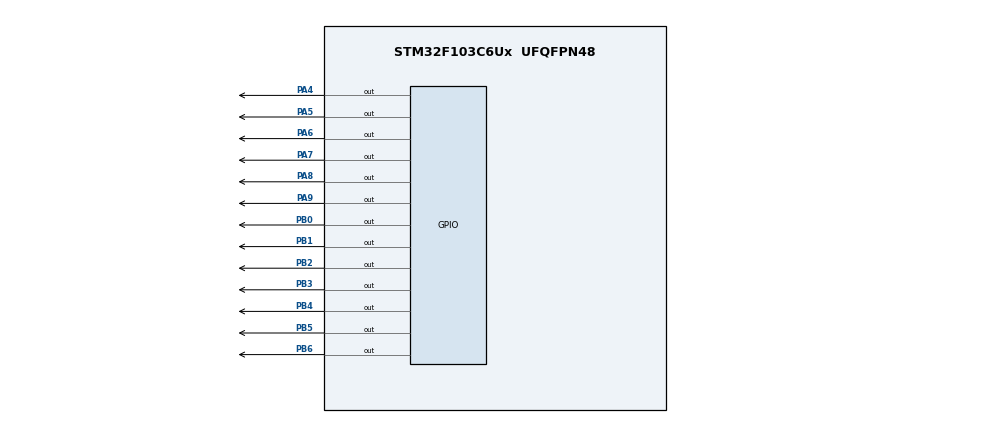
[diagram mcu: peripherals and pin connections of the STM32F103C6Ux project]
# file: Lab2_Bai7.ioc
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Mcu.Family=STM32F1
Mcu.Name=STM32F103C6Ux
Mcu.Package=UFQFPN48
NVIC.PriorityGroup=NVIC_PRIORITYGROUP_4
NVIC.TIM2_IRQn=true\:0\:0\:false\:false\:true\:true\:true
PA4.Signal=GPIO_Output
PA5.Signal=GPIO_Output
PA6.Signal=GPIO_Output
PA7.Signal=GPIO_Output
PA8.Signal=GPIO_Output
PA9.Signal=GPIO_Output
PB0.Signal=GPIO_Output
PB1.Signal=GPIO_Output
PB2.Signal=GPIO_Output
PB3.Signal=GPIO_Output
PB4.Signal=GPIO_Output
PB5.Signal=GPIO_Output
PB6.Signal=GPIO_Output
ProjectManager.HeapSize=0x200
ProjectManager.StackSize=0x400
ProjectManager.TargetToolchain=STM32CubeIDE
RCC.APB1Freq_Value=8000000
RCC.APB2Freq_Value=8000000
TIM2.Period=9
TIM2.Prescaler=7999
VP_SYS_VS_ND.Mode=No_Debug
VP_TIM2_VS_ClockSourceINT.Mode=Internal
board=custom

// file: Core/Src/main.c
/* USER CODE BEGIN Header */
/**
  ******************************************************************************
  * @file           : main.c
  * @brief          : Main program body
  ******************************************************************************
  * @attention
  *
  * <h2><center>&copy; Copyright (c) 2023 STMicroelectronics.
  * All rights reserved.</center></h2>
  *
  * This software component is licensed by ST under BSD 3-Clause license,
  * the "License"; You may not use this file except in compliance with the
  * License. You may obtain a copy of the License at:
  *                        opensource.org/licenses/BSD-3-Clause
  *
  ******************************************************************************
  */
/* USER CODE END Header */
#include "main.h"

/* USER CODE BEGIN Includes */
#include "sofware_timer.h"
/* USER CODE END Includes */

TIM_HandleTypeDef htim2;

void SystemClock_Config(void);
static void MX_GPIO_Init(void);
static void MX_TIM2_Init(void);

/* USER CODE BEGIN 0 */
void display7SEG (int num){
	switch (num){
		case 0:
			HAL_GPIO_WritePin(GPIOB, GPIO_PIN_0, RESET);
			HAL_GPIO_WritePin(GPIOB, GPIO_PIN_1, RESET);
			HAL_GPIO_WritePin(GPIOB, GPIO_PIN_2, RESET);
			HAL_GPIO_WritePin(GPIOB, GPIO_PIN_3, RESET);
			HAL_GPIO_WritePin(GPIOB, GPIO_PIN_4, RESET);
			HAL_GPIO_WritePin(GPIOB, GPIO_PIN_5, RESET);
			HAL_GPIO_WritePin(GPIOB, GPIO_PIN_6, SET);
			break;
		case 1:
			HAL_GPIO_WritePin(GPIOB, GPIO_PIN_0, SET);
			HAL_GPIO_WritePin(GPIOB, GPIO_PIN_1, RESET);
			HAL_GPIO_WritePin(GPIOB, GPIO_PIN_2, RESET);
			HAL_GPIO_WritePin(GPIOB, GPIO_PIN_3, SET);
			HAL_GPIO_WritePin(GPIOB, GPIO_PIN_4, SET);
			HAL_GPIO_WritePin(GPIOB, GPIO_PIN_5, SET);
			HAL_GPIO_WritePin(GPIOB, GPIO_PIN_6, SET);
			break;
		case 2:
			HAL_GPIO_WritePin(GPIOB, GPIO_PIN_0, RESET);
			HAL_GPIO_WritePin(GPIOB, GPIO_PIN_1, RESET);
			HAL_GPIO_WritePin(GPIOB, GPIO_PIN_2, SET);
			HAL_GPIO_WritePin(GPIOB, GPIO_PIN_3, RESET);
			HAL_GPIO_WritePin(GPIOB, GPIO_PIN_4, RESET);
			HAL_GPIO_WritePin(GPIOB, GPIO_PIN_5, SET);
			HAL_GPIO_WritePin(GPIOB, GPIO_PIN_6, RESET);
			break;
		case 3:
			HAL_GPIO_WritePin(GPIOB, GPIO_PIN_0, RESET);
			HAL_GPIO_WritePin(GPIOB, GPIO_PIN_1, RESET);
			HAL_GPIO_WritePin(GPIOB, GPIO_PIN_2, RESET);
			HAL_GPIO_WritePin(GPIOB, GPIO_PIN_3, RESET);
			HAL_GPIO_WritePin(GPIOB, GPIO_PIN_4, SET);
			HAL_GPIO_WritePin(GPIOB, GPIO_PIN_5, SET);
			HAL_GPIO_WritePin(GPIOB, GPIO_PIN_6, RESET);
			break;
		case 4:
			HAL_GPIO_WritePin(GPIOB, GPIO_PIN_0, SET);
			HAL_GPIO_WritePin(GPIOB, GPIO_PIN_1, RESET);
			HAL_GPIO_WritePin(GPIOB, GPIO_PIN_2, RESET);
			HAL_GPIO_WritePin(GPIOB, GPIO_PIN_3, SET);
			HAL_GPIO_WritePin(GPIOB, GPIO_PIN_4, SET);
			HAL_GPIO_WritePin(GPIOB, GPIO_PIN_5, RESET);
			HAL_GPIO_WritePin(GPIOB, GPIO_PIN_6, RESET);
			break;
		case 5:
			HAL_GPIO_WritePin(GPIOB, GPIO_PIN_0, RESET);
			HAL_GPIO_WritePin(GPIOB, GPIO_PIN_1, SET);
			HAL_GPIO_WritePin(GPIOB, GPIO_PIN_2, RESET);
			HAL_GPIO_WritePin(GPIOB, GPIO_PIN_3, RESET);
			HAL_GPIO_WritePin(GPIOB, GPIO_PIN_4, SET);
			HAL_GPIO_WritePin(GPIOB, GPIO_PIN_5, RESET);
			HAL_GPIO_WritePin(GPIOB, GPIO_PIN_6, RESET);
			break;
		case 6:
			HAL_GPIO_WritePin(GPIOB, GPIO_PIN_0, RESET);
			HAL_GPIO_WritePin(GPIOB, GPIO_PIN_1, SET);
			HAL_GPIO_WritePin(GPIOB, GPIO_PIN_2, RESET);
			HAL_GPIO_WritePin(GPIOB, GPIO_PIN_3, RESET);
			HAL_GPIO_WritePin(GPIOB, GPIO_PIN_4, RESET);
			HAL_GPIO_WritePin(GPIOB, GPIO_PIN_5, RESET);
			HAL_GPIO_WritePin(GPIOB, GPIO_PIN_6, RESET);
			break;
		case 7:
			HAL_GPIO_WritePin(GPIOB, GPIO_PIN_0, RESET);
			HAL_GPIO_WritePin(GPIOB, GPIO_PIN_1, RESET);
			HAL_GPIO_WritePin(GPIOB, GPIO_PIN_2, RESET);
			HAL_GPIO_WritePin(GPIOB, GPIO_PIN_3, SET);
			HAL_GPIO_WritePin(GPIOB, GPIO_PIN_4, SET);
			HAL_GPIO_WritePin(GPIOB, GPIO_PIN_5, SET);
			HAL_GPIO_WritePin(GPIOB, GPIO_PIN_6, SET);
			break;
		case 8:
			HAL_GPIO_WritePin(GPIOB, GPIO_PIN_0, RESET);
			HAL_GPIO_WritePin(GPIOB, GPIO_PIN_1, RESET);
			HAL_GPIO_WritePin(GPIOB, GPIO_PIN_2, RESET);
			HAL_GPIO_WritePin(GPIOB, GPIO_PIN_3, RESET);
			HAL_GPIO_WritePin(GPIOB, GPIO_PIN_4, RESET);
			HAL_GPIO_WritePin(GPIOB, GPIO_PIN_5, RESET);
			HAL_GPIO_WritePin(GPIOB, GPIO_PIN_6, RESET);
			break;
		case 9:
			HAL_GPIO_WritePin(GPIOB, GPIO_PIN_0, RESET);
			HAL_GPIO_WritePin(GPIOB, GPIO_PIN_1, RESET);
			HAL_GPIO_WritePin(GPIOB, GPIO_PIN_2, RESET);
			HAL_GPIO_WritePin(GPIOB, GPIO_PIN_3, RESET);
			HAL_GPIO_WritePin(GPIOB, GPIO_PIN_4, SET);
			HAL_GPIO_WritePin(GPIOB, GPIO_PIN_5, RESET);
			HAL_GPIO_WritePin(GPIOB, GPIO_PIN_6, RESET);
			break;
	}
}

const int MAX_LED = 4;
int index_led = 0;
int led_buffer[4] = {1, 2, 3, 4};
void update7SEG(int index){
	switch(index){
		case 0:
			display7SEG(led_buffer[0]);
			HAL_GPIO_WritePin(GPIOA, GPIO_PIN_6, RESET);
			HAL_GPIO_WritePin(GPIOA, GPIO_PIN_7, SET);
			HAL_GPIO_WritePin(GPIOA, GPIO_PIN_8, SET);
			HAL_GPIO_WritePin(GPIOA, GPIO_PIN_9, SET);
			break;
		case 1:
			display7SEG(led_buffer[1]);
			HAL_GPIO_WritePin(GPIOA, GPIO_PIN_6, SET);
			HAL_GPIO_WritePin(GPIOA, GPIO_PIN_7, RESET);
			HAL_GPIO_WritePin(GPIOA, GPIO_PIN_8, SET);
			HAL_GPIO_WritePin(GPIOA, GPIO_PIN_9, SET);
			break;
		case 2:
			display7SEG(led_buffer[2]);
			HAL_GPIO_WritePin(GPIOA, GPIO_PIN_6, SET);
			HAL_GPIO_WritePin(GPIOA, GPIO_PIN_7, SET);
			HAL_GPIO_WritePin(GPIOA, GPIO_PIN_8, RESET);
			HAL_GPIO_WritePin(GPIOA, GPIO_PIN_9, SET);
			break;
		case 3:
			display7SEG(led_buffer[3]);
			HAL_GPIO_WritePin(GPIOA, GPIO_PIN_6, SET);
			HAL_GPIO_WritePin(GPIOA, GPIO_PIN_7, SET);
			HAL_GPIO_WritePin(GPIOA, GPIO_PIN_8, SET);
			HAL_GPIO_WritePin(GPIOA, GPIO_PIN_9, RESET);
			break;
		default:
			break;
	}
}

void updateClockBuffer(int hour, int minute){
	led_buffer[0] = hour /10;
	led_buffer[1] = hour %10;
	led_buffer[2] = minute /10;
	led_buffer[3] = minute %10;
}
/* USER CODE END 0 */

int main(void)
{

  /* MCU Configuration--------------------------------------------------------*/

  /* Reset of all peripherals, Initializes the Flash interface and the Systick. */
  HAL_Init();

  /* Configure the system clock */
  SystemClock_Config();

  /* Initialize all configured peripherals */
  MX_GPIO_Init();
  MX_TIM2_Init();
  /* USER CODE BEGIN 2 */
  HAL_TIM_Base_Start_IT(&htim2);
  /* USER CODE END 2 */

  /* Infinite loop */
  /* USER CODE BEGIN WHILE */
  int hour = 15, minute = 8, second = 50;
  setTimer1(100);
  setTimer2(100);
  setTimer3(100);
  int index_led = 0;
  HAL_GPIO_WritePin (GPIOA , GPIO_PIN_4 , SET);
  HAL_GPIO_WritePin (GPIOA , GPIO_PIN_5 , SET);
  HAL_GPIO_WritePin (GPIOA , GPIO_PIN_6 , SET);
  HAL_GPIO_WritePin (GPIOA , GPIO_PIN_7 , SET);
  HAL_GPIO_WritePin (GPIOA , GPIO_PIN_8 , SET);
  HAL_GPIO_WritePin (GPIOA , GPIO_PIN_9 , SET);
  while (1)
  {
	  if( timer1_flag == 1){
		  if(second >= 60) {
			  second = 0;
			  minute++;
		  }
		  if( minute >= 60){
			  minute = 0;
			  hour ++;
		  }
		  if( hour >= 24) {
			  hour = 0;
		  }
		  second++;
		  updateClockBuffer(hour , minute);
		  setTimer1(100);
	  }
	  if( timer2_flag == 1){
		  update7SEG(index_led);
		  if( index_led >= 3){
			  index_led = 0;
		  }
		  else {
			  index_led++;
		  }
		  setTimer2(25);
	  }
	  if( timer3_flag == 1){
		  HAL_GPIO_TogglePin (GPIOA , GPIO_PIN_4 );
		  HAL_GPIO_TogglePin (GPIOA , GPIO_PIN_5 );
		  setTimer3(100);
	  }
    /* USER CODE END WHILE */

  }
}

void SystemClock_Config(void)
{
  RCC_OscInitTypeDef RCC_OscInitStruct = {0};
  RCC_ClkInitTypeDef RCC_ClkInitStruct = {0};

  /** Initializes the RCC Oscillators according to the specified parameters
  * in the RCC_OscInitTypeDef structure.
  */
  RCC_OscInitStruct.OscillatorType = RCC_OSCILLATORTYPE_HSI;
  RCC_OscInitStruct.HSIState = RCC_HSI_ON;
  RCC_OscInitStruct.HSICalibrationValue = RCC_HSICALIBRATION_DEFAULT;
  RCC_OscInitStruct.PLL.PLLState = RCC_PLL_NONE;
  if (HAL_RCC_OscConfig(&RCC_OscInitStruct) != HAL_OK)
  {
    Error_Handler();
  }
  /** Initializes the CPU, AHB and APB buses clocks
  */
  RCC_ClkInitStruct.ClockType = RCC_CLOCKTYPE_HCLK|RCC_CLOCKTYPE_SYSCLK
                              |RCC_CLOCKTYPE_PCLK1|RCC_CLOCKTYPE_PCLK2;
  RCC_ClkInitStruct.SYSCLKSource = RCC_SYSCLKSOURCE_HSI;
  RCC_ClkInitStruct.AHBCLKDivider = RCC_SYSCLK_DIV1;
  RCC_ClkInitStruct.APB1CLKDivider = RCC_HCLK_DIV1;
  RCC_ClkInitStruct.APB2CLKDivider = RCC_HCLK_DIV1;

  if (HAL_RCC_ClockConfig(&RCC_ClkInitStruct, FLASH_LATENCY_0) != HAL_OK)
  {
    Error_Handler();
  }
}

static void MX_TIM2_Init(void)
{

  TIM_ClockConfigTypeDef sClockSourceConfig = {0};
  TIM_MasterConfigTypeDef sMasterConfig = {0};

  htim2.Instance = TIM2;
  htim2.Init.Prescaler = 7999;
  htim2.Init.CounterMode = TIM_COUNTERMODE_UP;
  htim2.Init.Period = 9;
  htim2.Init.ClockDivision = TIM_CLOCKDIVISION_DIV1;
  htim2.Init.AutoReloadPreload = TIM_AUTORELOAD_PRELOAD_DISABLE;
  if (HAL_TIM_Base_Init(&htim2) != HAL_OK)
  {
    Error_Handler();
  }
  sClockSourceConfig.ClockSource = TIM_CLOCKSOURCE_INTERNAL;
  if (HAL_TIM_ConfigClockSource(&htim2, &sClockSourceConfig) != HAL_OK)
  {
    Error_Handler();
  }
  sMasterConfig.MasterOutputTrigger = TIM_TRGO_RESET;
  sMasterConfig.MasterSlaveMode = TIM_MASTERSLAVEMODE_DISABLE;
  if (HAL_TIMEx_MasterConfigSynchronization(&htim2, &sMasterConfig) != HAL_OK)
  {
    Error_Handler();
  }

}

static void MX_GPIO_Init(void)
{
  GPIO_InitTypeDef GPIO_InitStruct = {0};

  /* GPIO Ports Clock Enable */
  __HAL_RCC_GPIOA_CLK_ENABLE();
  __HAL_RCC_GPIOB_CLK_ENABLE();

  /*Configure GPIO pin Output Level */
  HAL_GPIO_WritePin(GPIOA, GPIO_PIN_4|GPIO_PIN_5|GPIO_PIN_6|GPIO_PIN_7
                          |GPIO_PIN_8|GPIO_PIN_9, GPIO_PIN_RESET);

  /*Configure GPIO pin Output Level */
  HAL_GPIO_WritePin(GPIOB, GPIO_PIN_0|GPIO_PIN_1|GPIO_PIN_2|GPIO_PIN_3
                          |GPIO_PIN_4|GPIO_PIN_5|GPIO_PIN_6, GPIO_PIN_RESET);

  /*Configure GPIO pins : PA4 PA5 PA6 PA7
                           PA8 PA9 */
  GPIO_InitStruct.Pin = GPIO_PIN_4|GPIO_PIN_5|GPIO_PIN_6|GPIO_PIN_7
                          |GPIO_PIN_8|GPIO_PIN_9;
  GPIO_InitStruct.Mode = GPIO_MODE_OUTPUT_PP;
  GPIO_InitStruct.Pull = GPIO_NOPULL;
  GPIO_InitStruct.Speed = GPIO_SPEED_FREQ_LOW;
  HAL_GPIO_Init(GPIOA, &GPIO_InitStruct);

  /*Configure GPIO pins : PB0 PB1 PB2 PB3
                           PB4 PB5 PB6 */
  GPIO_InitStruct.Pin = GPIO_PIN_0|GPIO_PIN_1|GPIO_PIN_2|GPIO_PIN_3
                          |GPIO_PIN_4|GPIO_PIN_5|GPIO_PIN_6;
  GPIO_InitStruct.Mode = GPIO_MODE_OUTPUT_PP;
  GPIO_InitStruct.Pull = GPIO_NOPULL;
  GPIO_InitStruct.Speed = GPIO_SPEED_FREQ_LOW;
  HAL_GPIO_Init(GPIOB, &GPIO_InitStruct);

}

/* USER CODE BEGIN 4 */
void HAL_TIM_PeriodElapsedCallback ( TIM_HandleTypeDef * htim ){
	timerRun();
}
/* USER CODE END 4 */

void Error_Handler(void)
{
  __disable_irq();
  while (1)
  {
  }
}

/************************ (C) COPYRIGHT STMicroelectronics *****END OF FILE****/
